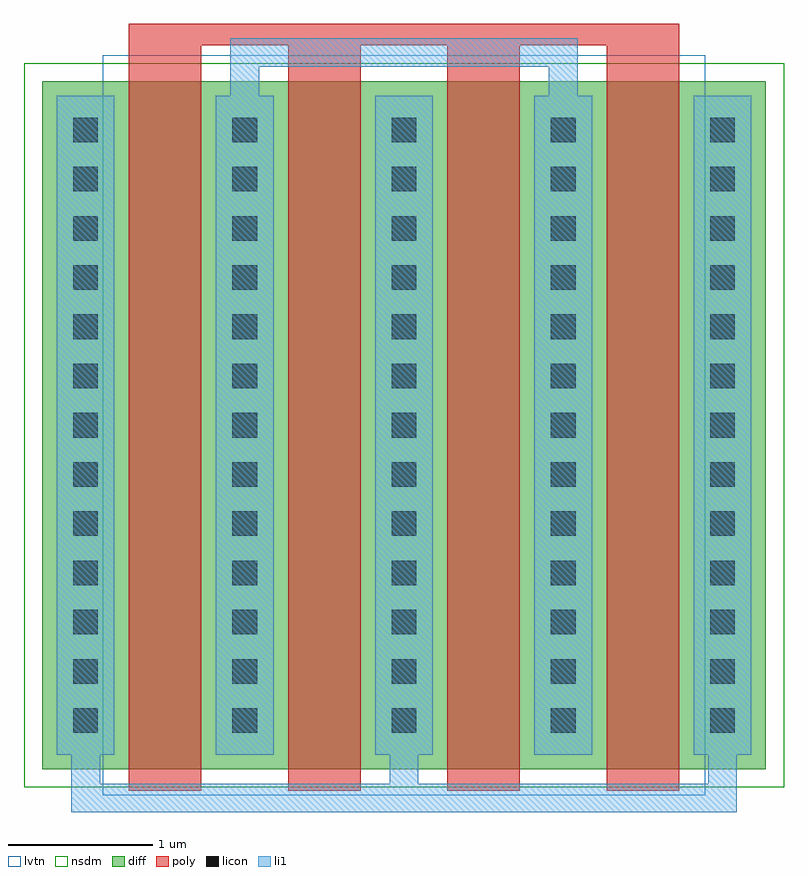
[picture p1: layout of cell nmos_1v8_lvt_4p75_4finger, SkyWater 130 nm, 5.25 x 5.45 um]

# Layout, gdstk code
import gdstk
lib = gdstk.Library(unit=1e-6, precision=1e-09)
def R(c, l, rs):  # rectangles x0, y0, x1, y1
    for r in rs: c.add(gdstk.rectangle(r[:2], r[2:], *l))
def A(c, l, x, y, w, h, nx, ny, dx, dy):  # array of equal rectangles
    R(c, l, [(x+i*dx, y+j*dy, x+i*dx+w, y+j*dy+h) for i in range(nx) for j in range(ny)])
diff = (65, 20)
poly = (66, 20)
licon = (66, 44)
li1 = (67, 20)
nsdm = (93, 44)
lvtn = (125, 44)

nmos_1v8_lvt_4p75_4finge = lib.new_cell('nmos_1v8_lvt_4p75_4finger')
R(nmos_1v8_lvt_4p75_4finge, diff, [(-9.95,0.1,-4.95,4.85)])
A(nmos_1v8_lvt_4p75_4finge, poly, -9.35, -0.05, 0.5, 5.15, 4, 1, 1.1, 0)
R(nmos_1v8_lvt_4p75_4finge, poly, [(-9.35,5.1,-5.55,5.25)])
A(nmos_1v8_lvt_4p75_4finge, licon, -9.735, 0.35, 0.17, 0.17, 5, 13, 1.1, 0.34)
A(nmos_1v8_lvt_4p75_4finge, li1, -9.75, 0, 0.2, 0.2, 3, 1, 2.2, 0)
A(nmos_1v8_lvt_4p75_4finge, li1, -9.85, 0.2, 0.4, 4.55, 5, 1, 1.1, 0)
R(nmos_1v8_lvt_4p75_4finge, li1, [(-9.75,-0.2,-5.15,0), (-8.65,4.75,-8.45,4.95), (-6.45,4.75,-6.25,4.95), (-8.65,4.95,-6.25,5.15)])
R(nmos_1v8_lvt_4p75_4finge, nsdm, [(-10.075,-0.025,-4.825,4.975)])
R(nmos_1v8_lvt_4p75_4finge, lvtn, [(-9.53,-0.08,-5.37,5.03)])

lib.write_gds('nmos_1v8_lvt_4p75_4finger.gds')
